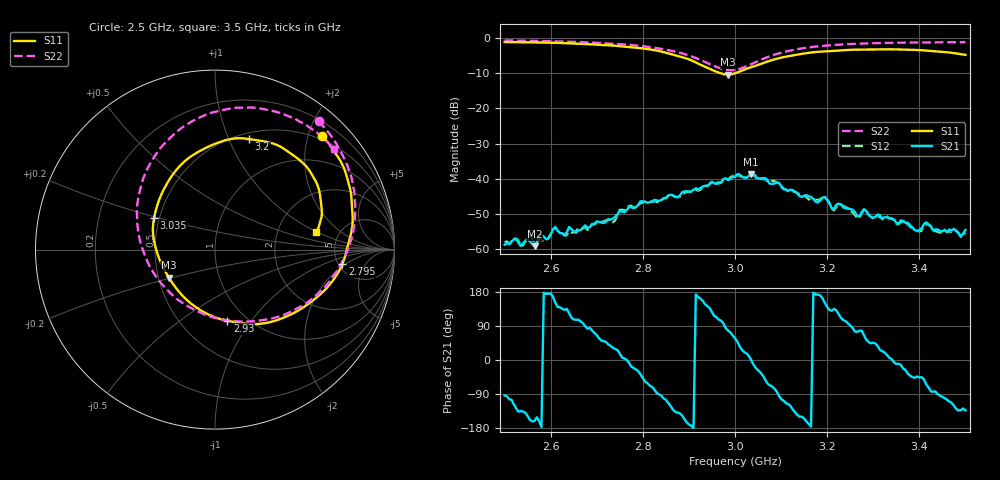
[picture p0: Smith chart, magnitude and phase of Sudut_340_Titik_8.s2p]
# Hz S RI R 50
! CMT, C1220, 16058040, 17.2.0/1
! Date: 15/08/2018 09:59:10
! Data: Format (Calibration Info)
! Freq  S11: Re/Im (F2)  S21: Re/Im (F2)  S12: Re/Im (F2)  S22: Re/Im (F2)
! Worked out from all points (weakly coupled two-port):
!   201 points, 2.5 GHz to 3.5 GHz, reference 50 ohm
!   highest |S21| = -38.69 dB at 3.035 GHz (marker M1); lowest = -59.1 dB at 2.565 GHz (marker M2)
!   lowest |S11| = -10.4 dB at 2.985 GHz (marker M3), VSWR 1.86, Z = 28.4 - j9.79 ohm
!   |S11| at or under -10 dB: 2.968 GHz to 3.001 GHz (33.32 MHz wide, 1.12 % of centre)
!   |S22| runs from -9.2 to -0.7 dB; largest |S21 - S12| = 0.00089
!   S11 on the Smith chart (normalised r, x): 2.5 GHz: 0.42, +2.25; 2.795 GHz: 5.36, -1.80; 2.93 GHz: 0.82, -0.77; 3.035 GHz: 0.47, +0.19; 3.2 GHz: 0.56, +1.19; 3.5 GHz: 3.38, +0.96
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2.5e9  0.5978 0.635  -7.39e-05 -0.00116  -4.85e-05 -0.00125  0.5771 0.714
2.54e9  0.6435 0.5766  -0.00088 -0.000847  -0.000785 -0.000827  0.6218 0.6647
2.555e9  0.6576 0.5556  -0.00121 -0.000481  -0.00146 -0.00062  0.638 0.6456
2.565e9  0.6691 0.5394  -0.00105 -0.000366  -0.0012 -0.000248  0.6484 0.631
2.61e9  0.7157 0.4606  -0.00183 0.000999  -0.00179 0.000916  0.6942 0.5579
2.63e9  0.7322 0.4141  -0.00107 0.00117  -0.000902 0.00126  0.7127 0.5224
2.67e9  0.7568 0.3186  -0.000256 0.00202  -0.000118 0.00197  0.7483 0.4402
2.795e9  0.7089 -0.0822  0.00379 -0.00294  0.00351 -0.00283  0.7645 0.0741
2.835e9  0.6086 -0.2287  -5.65e-05 -0.00484  3.85e-05 -0.00464  0.703 -0.0794
2.93e9  0.068 -0.3963  -0.00713 0.00317  -0.00718 0.00276  0.2547 -0.3939
2.985e9  -0.2564 -0.1569  0.00204 0.00937  0.00161 0.00965  -0.1762 -0.3006
3e9  -0.3096 -0.0543  0.0058 0.00898  0.00627 0.00871  -0.2778 -0.2122
3.035e9  -0.3394 0.1769  0.0116 4.72e-05  0.0116 0.000265  -0.419 0.0529
3.1e9  -0.1641 0.4964  -0.0018 -0.00776  -0.00205 -0.00737  -0.3423 0.5105
3.17e9  0.0942 0.6171  -0.00515 0.000244  -0.00525 -0.000128  -0.0726 0.7418
3.2e9  0.1898 0.6158  -0.00383 0.0032  -0.00374 0.00347  0.0397 0.7764
3.265e9  0.3695 0.571  0.000811 0.00287  0.000687 0.00272  0.246 0.7871
3.28e9  0.4026 0.549  0.00154 0.00337  0.00149 0.00329  0.287 0.7798
3.335e9  0.5086 0.4637  0.00272 0.000285  0.00275 0.000173  0.4136 0.7421
3.395e9  0.5739 0.35  0.00133 -0.00126  0.00124 -0.00133  0.5223 0.6838
3.415e9  0.5852 0.3047  0.00104 -0.00218  0.00103 -0.00202  0.5545 0.6613
3.5e9  0.5645 0.0953  -0.00128 -0.00137  -0.00124 -0.00119  0.6629 0.5598
